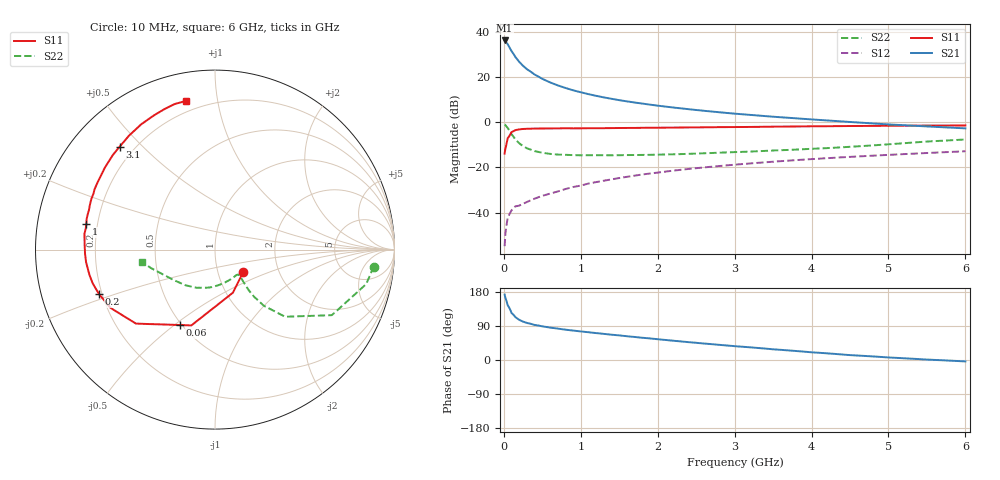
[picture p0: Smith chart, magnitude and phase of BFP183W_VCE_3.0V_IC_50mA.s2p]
! Infineon Technologies  Discrete & RF Semiconductors
! BFP183W
! VCE =  3.0 V,  IC =  50 mA
! Common Emitter S-Parameters:  Jan 2017
# GHz  S  MA  R  50
!  f  S11  S21  S12  S22
! GHz  MAG  ANG  MAG  ANG  MAG  ANG  MAG  ANG
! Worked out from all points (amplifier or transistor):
!   77 points, 10 MHz to 6 GHz, reference 50 ohm
!   highest |S21| = 36.2 dB at 10 MHz (marker M1)
!   |S21| within 3 dB of that: start of sweep to 71.92 MHz
!   unconditionally stable (mu >= 1): 473.9 MHz to 3.854 GHz
!   at 130 MHz: K = 0.49, MSG = 33.9 dB, |S12| = -37.9 dB
!   at 2.2 GHz: K = 1.14, MAG = 11.7 dB, |S12| = -21.5 dB
!   at 6 GHz: K = 0.90, MSG = 5.1 dB, |S12| = -12.9 dB
!   S11 on the Smith chart (normalised r, x): 10 MHz: 1.32, -0.34; 60 MHz: 0.49, -0.53; 200 MHz: 0.19, -0.18; 1 GHz: 0.16, +0.10; 3.1 GHz: 0.15, +0.43; 6 GHz: 0.14, +0.81
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0.01  0.201 -38.4  64.34 172.7  0.0018 82.9  0.8893 -6.1
0.02  0.2601 -67.5  62.84 164.3  0.0033 85.0  0.8644 -12.8
0.05  0.4424 -107.3  53.06 144.6  0.0075 60.3  0.7463 -29.3
0.06  0.4627 -114.7  49.54 141.5  0.0082 58.1  0.7025 -31.5
0.1  0.6033 -136.9  37.49 124.0  0.0112 52.3  0.5415 -43.7
0.15  0.6668 -150.9  27.73 113.1  0.0137 46.3  0.4148 -49.0
0.2  0.6922 -159.0  21.62 106.0  0.0142 46.6  0.3413 -50.3
0.25  0.7069 -164.6  17.66 101.2  0.0156 48.0  0.295 -50.3
0.3  0.7135 -168.6  14.87 97.8  0.0171 51.5  0.2642 -49.5
0.4  0.7218 -174.4  11.32 92.5  0.0203 54.8  0.2286 -48.1
0.5  0.7245 -178.3  9.091 88.8  0.0234 57.3  0.2104 -47.0
0.6  0.7264 178.3  7.604 85.6  0.0262 59.2  0.1989 -46.8
0.7  0.7286 175.9  6.526 82.9  0.0292 63.4  0.1918 -46.6
0.9  0.7296 170.7  5.075 77.7  0.0367 65.1  0.1866 -48.8
1  0.7308 168.7  4.591 75.4  0.0395 67.0  0.1847 -50.1
1.1  0.7353 166.6  4.173 73.3  0.0438 67.1  0.1854 -51.5
1.5  0.7425 159.1  3.07 64.9  0.058 67.8  0.1855 -59.4
2.1  0.7558 148.3  2.214 52.9  0.0805 66.0  0.1924 -75.4
3.1  0.7816 132.8  1.496 35.0  0.1182 60.7  0.22 -105.1
4.1  0.8117 119.3  1.121 19.0  0.1557 54.0  0.2616 -132.4
5.1  0.8335 108.9  0.873 5.7  0.1925 46.7  0.3326 -157.1
6  0.8439 101.0  0.729 -3.8  0.227 39.6  0.4137 -170.7
